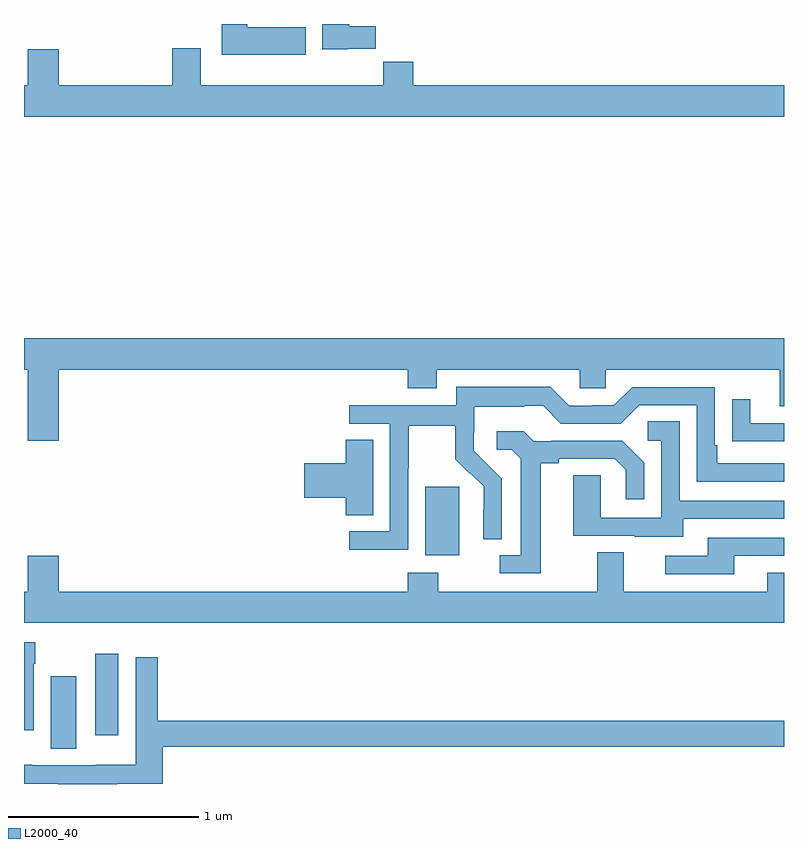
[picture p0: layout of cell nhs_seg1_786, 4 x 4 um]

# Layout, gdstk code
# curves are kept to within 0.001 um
import gdstk
lib = gdstk.Library(unit=1e-6, precision=1e-09)
def R(c, l, rs):  # rectangles x0, y0, x1, y1
    for r in rs: c.add(gdstk.rectangle(r[:2], r[2:], *l))
def P(c, l, *ps):  # polygons
    for p in ps: c.add(gdstk.Polygon(p, *l))
L2000_40 = (2000, 40)

nhs_seg1_786 = lib.new_cell('nhs_seg1_786')
R(nhs_seg1_786, L2000_40, [(153.14,568.384,153.274,568.765), (153.374,568.455,153.496,568.885), (155.111,569.402,155.29,569.763)])
P(nhs_seg1_786, L2000_40, [(154.707,572.07),(154.85,572.07),(154.85,572.188),(154.711,572.188),(154.711,572.199),(154.571,572.199),(154.571,572.066),(154.707,572.066)],
  [(154.483,572.182),(154.174,572.182),(154.174,572.199),(154.04,572.199),(154.04,572.036),(154.483,572.036)],
  [(157,571.876),(155.048,571.876),(155.048,572),(154.891,572),(154.891,571.876),(153.931,571.876),(153.931,572.071),(153.779,572.071),(153.779,571.876),(153.184,571.876),(153.184,572.065),(153.02,572.065),(153.02,571.876),(153,571.876),(153,571.712),(157,571.712)],
  [(153.184,570.38),(155.021,570.38),(155.021,570.281),(155.173,570.281),(155.173,570.38),(155.925,570.38),(155.925,570.282),(156.063,570.282),(156.063,570.38),(156.977,570.38),(156.977,570.186),(157,570.186),(157,570.544),(153,570.544),(153,570.38),(153.02,570.38),(153.02,570.006),(153.184,570.006)],
  [(155.022,569.86),(155.025,569.86),(155.025,570.084),(155.269,570.084),(155.269,569.909),(155.346,569.832),(155.349,569.835),(155.42,569.765),(155.42,569.642),(155.418,569.642),(155.418,569.488),(155.514,569.488),(155.514,569.806),(155.368,569.954),(155.368,570.051),(155.37,570.051),(155.37,570.185),(155.633,570.185),(155.633,570.189),(155.733,570.189),(155.826,570.096),(156.141,570.096),(156.237,570.192),(156.54,570.192),(156.54,569.79),(157,569.79),(157,569.886),(156.649,569.886),(156.649,569.983),(156.636,569.983),(156.636,570.288),(156.201,570.288),(156.105,570.192),(155.987,570.192),(155.987,570.189),(155.871,570.189),(155.771,570.289),(155.274,570.289),(155.274,570.192),(154.713,570.192),(154.713,570.096),(154.926,570.096),(154.926,569.529),(154.713,569.529),(154.713,569.431),(155.022,569.431)],
  [(157,570.099),(156.823,570.099),(156.823,570.223),(156.727,570.223),(156.727,570.004),(156.829,570.004),(156.829,570.003),(157,570.003)],
  [(156.469,569.595),(157,569.595),(157,569.691),(156.45,569.691),(156.45,570.107),(156.282,570.107),(156.282,570.006),(156.354,570.006),(156.354,569.601),(156.036,569.601),(156.036,569.825),(155.891,569.825),(155.891,569.505),(156.215,569.505),(156.215,569.501),(156.469,569.501)],
  [(155.719,569.888),(155.815,569.888),(155.815,569.91),(156.11,569.91),(156.167,569.853),(156.167,569.697),(156.264,569.697),(156.264,569.89),(156.148,570.006),(155.776,570.006),(155.776,570.003),(155.682,570.003),(155.63,570.055),(155.487,570.055),(155.487,569.958),(155.568,569.958),(155.615,569.911),(155.615,569.403),(155.505,569.403),(155.505,569.307),(155.719,569.307)],
  [(154.837,570.011),(154.694,570.011),(154.694,569.888),(154.476,569.888),(154.476,569.705),(154.694,569.705),(154.694,569.614),(154.837,569.614)],
  [(156.739,569.4),(157,569.4),(157,569.496),(156.599,569.496),(156.599,569.4),(156.375,569.4),(156.375,569.304),(156.739,569.304)],
  [(153.02,569.401),(153.02,569.212),(153,569.212),(153,569.048),(157,569.048),(157,569.311),(156.911,569.311),(156.911,569.212),(156.157,569.212),(156.157,569.42),(156.017,569.42),(156.017,569.212),(155.181,569.212),(155.181,569.311),(155.021,569.311),(155.021,569.212),(153.184,569.212),(153.184,569.401)],
  [(153.052,568.832),(153.06,568.832),(153.06,568.945),(153,568.945),(153,568.482),(153.052,568.482)],
  [(153.491,568.201),(153.731,568.201),(153.731,568.396),(157,568.396),(157,568.532),(153.704,568.532),(153.704,568.867),(153.588,568.867),(153.588,568.3),(153.378,568.3),(153.378,568.299),(153.044,568.299),(153.044,568.301),(153,568.301),(153,568.201),(153.181,568.201),(153.181,568.199),(153.491,568.199)])

lib.write_gds('nhs_seg1_786.gds')
